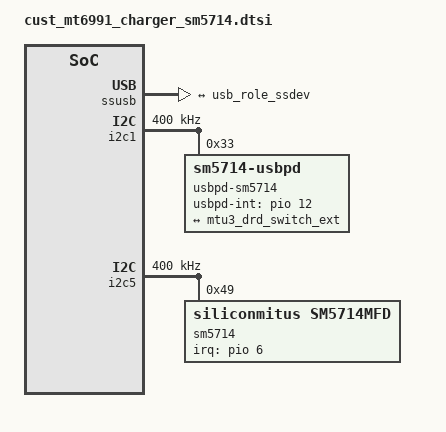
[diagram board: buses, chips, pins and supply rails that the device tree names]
// SPDX-License-Identifier: GPL-2.0
/*
 * Copyright (c) 2019 MediaTek Inc.
 */

&pio {
	if_pmic_irq: if-pmic-irq {
		pins-cmd-dat {
			pinmux = <PINMUX_GPIO6__FUNC_GPIO6>;
			slew-rate = <1>;
			input-enable;
		};
	};
	usbpd_irq: usbpd-irq {
		pins-cmd-dat {
			pinmux = <PINMUX_GPIO12__FUNC_GPIO12>;
			slew-rate = <1>;
			input-enable;
		};
	};
};

&ssusb {
	port@1 {
		mtu3_drd_switch_ext: endpoint {
			remote-endpoint = <&usb_role_ssdev>;
		};
	};
};

&i2c1 {
	#address-cells = <1>;
	#size-cells = <0>;
	status = "okay";
	clock-frequency = <400000>;

	usbpd-sm5714@33 {
		status = "okay";
		compatible = "sm5714-usbpd";
		reg = <0x33>;
		pinctrl-names = "default";
		pinctrl-0 = <&usbpd_irq>;
		usbpd,usbpd-int = <&pio 12 0>;

		support-pd-role-swap;
		pdic-manager {
			/* sink */
			pdic,max-power = <5000>;
			pdic-op-power = <2500>;
			pdic-max-voltage = <6000>;
			pdic-max-current = <2000>;
			pdic,min-current = <500>;
			pdic,giveback = <0>;
			pdic,usb-com-capable = <1>;
			pdic,no-usb-suspend = <1>;

			/* source */
			source,max-voltage = <5000>;
			source,min-voltage = <4000>;
			source,max-power = <2500>;
		};

		port {
			usb_role_ssdev: endpoint {
				remote-endpoint = <&mtu3_drd_switch_ext>;
			};
		};
	};
};

&i2c5 {
	#address-cells = <1>;
	#size-cells = <0>;
	status = "okay";
	clock-frequency = <400000>;

	sm5714@49{
		status = "okay";
		compatible = "siliconmitus,sm5714mfd";
		reg = <0x49>;
		pinctrl-names = "default";
		pinctrl-0 = <&if_pmic_irq>;
		sm5714,irq-gpio = <&pio 6 0>;
		sm5714,wakeup;
	};
};

//#include "../../../../drivers/misc/mediatek/ssdev_in_mtk/dts/sm5714_fuelgauge.a24_lte.dtsi"
//#include "../../../../drivers/misc/mediatek/ssdev_in_mtk/dts/battery_common.a24_lte.dtsi"
